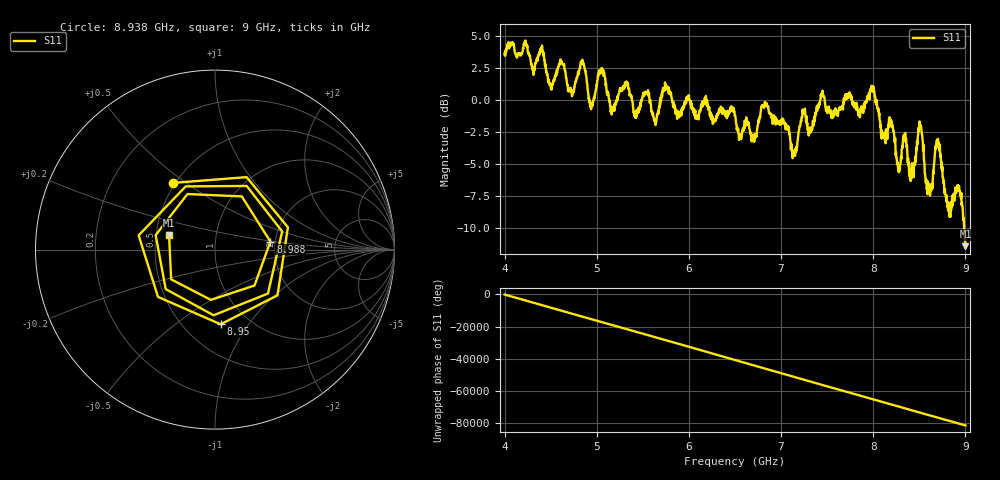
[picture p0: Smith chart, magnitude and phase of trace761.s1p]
! Created with skrf 1.8.0 (http://scikit-rf.org).
# Hz S RI R 50.0
!freq ReS11 ImS11
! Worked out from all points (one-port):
!   1601 points, 4 GHz to 9 GHz, reference 50 ohm
!   lowest |S11| = -11.4 dB at 9 GHz (marker M1), VSWR 1.73, Z = 29.3 + j5.1 ohm
!   |S11| at or under -10 dB: 8.987093 GHz to end of sweep
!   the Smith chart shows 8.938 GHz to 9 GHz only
!   S11 on the Smith chart (normalised r, x): 8.938 GHz: 0.49, +0.45; 8.95 GHz: 0.74, -0.75; 8.988 GHz: 1.88, +0.19; 9 GHz: 0.59, +0.10
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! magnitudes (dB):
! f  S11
! 4 GHz  3.6
! 4.497 GHz  1.2
! 4.625 GHz  2.8
! 4.728 GHz  0.5
! 4.847 GHz  2.9
! 4.938 GHz  -0.7
! 5.047 GHz  2.2
! 5.166 GHz  -0.5
! 5.25 GHz  0.8
! 5.875 GHz  -0.9
! 6.5 GHz  -1.2
! 6.706 GHz  -3.0
! 6.838 GHz  -0.4
! 7.125 GHz  -4.5
! 7.447 GHz  0.6
! 7.75 GHz  0.5
! 7.991 GHz  1.0
! 8.109 GHz  -2.7
! 8.375 GHz  -4.9
! 8.422 GHz  -5.7
! 8.509 GHz  -1.9
! 8.594 GHz  -6.8
! 8.697 GHz  -3.1
! 8.812 GHz  -8.6
! 8.938 GHz  -7.2
! 8.95 GHz  -7.6
! 8.988 GHz  -10.1
! 9 GHz  -11.4
